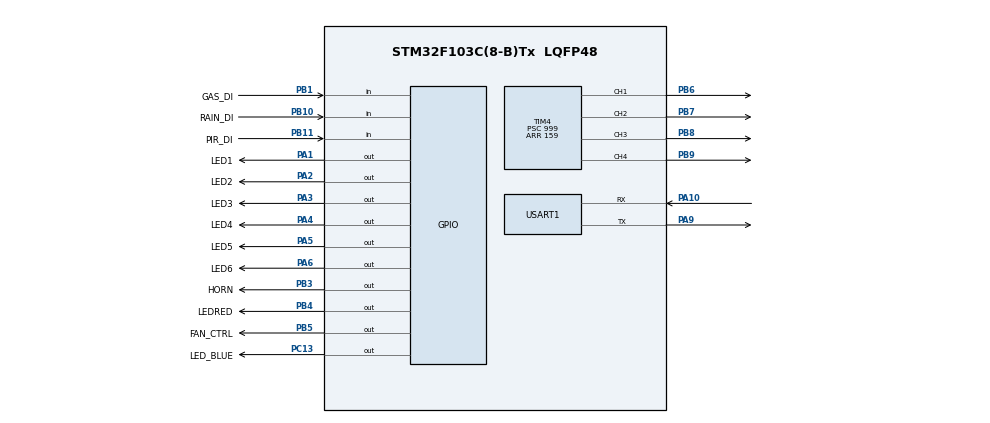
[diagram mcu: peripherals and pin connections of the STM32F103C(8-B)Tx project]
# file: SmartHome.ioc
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Mcu.Family=STM32F1
Mcu.Name=STM32F103C(8-B)Tx
Mcu.Package=LQFP48
NVIC.PriorityGroup=NVIC_PRIORITYGROUP_4
NVIC.USART1_IRQn=true\:5\:0\:true\:false\:true\:true\:true\:true
PA1.GPIO_Label=LED1
PA1.PinState=GPIO_PIN_SET
PA1.Signal=GPIO_Output
PA10.Mode=Asynchronous
PA10.Signal=USART1_RX
PA2.GPIO_Label=LED2
PA2.PinState=GPIO_PIN_SET
PA2.Signal=GPIO_Output
PA3.GPIO_Label=LED3
PA3.PinState=GPIO_PIN_SET
PA3.Signal=GPIO_Output
PA4.GPIO_Label=LED4
PA4.PinState=GPIO_PIN_SET
PA4.Signal=GPIO_Output
PA5.GPIO_Label=LED5
PA5.PinState=GPIO_PIN_SET
PA5.Signal=GPIO_Output
PA6.GPIO_Label=LED6
PA6.PinState=GPIO_PIN_SET
PA6.Signal=GPIO_Output
PA9.Mode=Asynchronous
PA9.Signal=USART1_TX
PB1.GPIO_Label=GAS_DI
PB1.Signal=GPIO_Input
PB10.GPIO_Label=RAIN_DI
PB10.Signal=GPIO_Input
PB11.GPIO_Label=PIR_DI
PB11.Signal=GPIO_Input
PB3.GPIO_Label=HORN
PB3.PinState=GPIO_PIN_SET
PB3.Signal=GPIO_Output
PB4.GPIO_Label=LEDRED
PB4.PinState=GPIO_PIN_SET
PB4.Signal=GPIO_Output
PB5.GPIO_Label=FAN_CTRL
PB5.PinState=GPIO_PIN_SET
PB5.Signal=GPIO_Output
PB6.Signal=S_TIM4_CH1
PB7.Signal=S_TIM4_CH2
PB8.Signal=S_TIM4_CH3
PB9.Signal=S_TIM4_CH4
PC13-TAMPER-RTC.GPIO_Label=LED_BLUE
PC13-TAMPER-RTC.PinState=GPIO_PIN_SET
PC13-TAMPER-RTC.Signal=GPIO_Output
ProjectManager.HeapSize=0x200
ProjectManager.StackSize=0x400
ProjectManager.TargetToolchain=STM32CubeIDE
RCC.APB1Freq_Value=8000000
RCC.APB2Freq_Value=8000000
SH.S_TIM4_CH1.0=TIM4_CH1,PWM Generation1 CH1
SH.S_TIM4_CH2.0=TIM4_CH2,PWM Generation2 CH2
SH.S_TIM4_CH3.0=TIM4_CH3,PWM Generation3 CH3
SH.S_TIM4_CH4.0=TIM4_CH4,PWM Generation4 CH4
TIM4.Channel-PWM\ Generation1\ CH1=TIM_CHANNEL_1
TIM4.Channel-PWM\ Generation2\ CH2=TIM_CHANNEL_2
TIM4.Channel-PWM\ Generation3\ CH3=TIM_CHANNEL_3
TIM4.Channel-PWM\ Generation4\ CH4=TIM_CHANNEL_4
TIM4.Period=159
TIM4.Prescaler=999
TIM4.Pulse-PWM\ Generation1\ CH1=0
USART1.VirtualMode=VM_ASYNC
VP_SYS_VS_ND.Mode=No_Debug
VP_TIM4_VS_ClockSourceINT.Mode=Internal
board=custom

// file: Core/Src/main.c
/* USER CODE BEGIN Header */
/**
  ******************************************************************************
  * @file           : main.c
  * @brief          : Main program body
  ******************************************************************************
  * @attention
  *
  * Copyright (c) 2023 STMicroelectronics.
  * All rights reserved.
  *
  * This software is licensed under terms that can be found in the LICENSE file
  * in the root directory of this software component.
  * If no LICENSE file comes with this software, it is provided AS-IS.
  *
  ******************************************************************************
  */
/* USER CODE END Header */
#include "main.h"

/* USER CODE BEGIN Includes */
#include "cJSON.h"
/* USER CODE END Includes */

/* USER CODE BEGIN PD */
typedef enum MSG_TYPE_t MSG_TYPE;
enum MSG_TYPE_t{
	MSG_LED_1 = 1,
	MSG_LED_2,
	MSG_LED_3,
	MSG_LED_4,
	MSG_LED_5,
	MSG_LED_6,
	MSG_MOTOR_1,
	MSG_MOTOR_2,
	MSG_MOTOR_3,
	MSG_MOTOR_4,
	MSG_MOTOR_5
};

typedef struct SENSOR_t SENSOR;
struct SENSOR_t{
	uint8_t state;
};
typedef struct SMH_APP_t SMH_APP;
struct SMH_APP_t{
	SENSOR gas_sensor;
	SENSOR rain_sensor;
	uint8_t led1_state;
	uint8_t led2_state;
	uint8_t led3_state;
	uint8_t led4_state;
	uint8_t led5_state;
	uint8_t led6_state;
	uint8_t motor1_state;
	uint8_t motor2_state;
	uint8_t motor3_state;
	uint8_t motor4_state;
	uint8_t motor5_state;
	uint8_t horn_state;
	uint8_t ledred_state;
};
/* USER CODE END PD */

TIM_HandleTypeDef htim4;

UART_HandleTypeDef huart1;

/* USER CODE BEGIN PV */
SMH_APP main_app;
uint8_t uart_rx_buff[30];
uint8_t _rxIndex = 0;
uint8_t rx_data;
uint8_t tx_complete_flag = 0;
/* USER CODE END PV */

void SystemClock_Config(void);
static void MX_GPIO_Init(void);
static void MX_USART1_UART_Init(void);
static void MX_TIM4_Init(void);
/* USER CODE BEGIN PFP */
void process_rx_data();
void process_led_control();
void process_motor_control();
void process_measure();
void process_control();
void set_motor_radian(uint8_t motor_number, uint8_t radian);
/* USER CODE END PFP */

/* USER CODE BEGIN 0 */
void HAL_UART_RxCpltCallback(UART_HandleTypeDef *huart)
{
  /* Prevent unused argument(s) compilation warning */
  if(huart->Instance == USART1){
	  uart_rx_buff[_rxIndex++] = rx_data;
	  if(rx_data == '}'){
		  _rxIndex = 0;
		  tx_complete_flag = 1;
	  }
	  HAL_UART_Receive_IT(&huart1, &rx_data, 1);
  }
  /* NOTE: This function should not be modified, when the callback is needed,
           the HAL_UART_RxCpltCallback could be implemented in the user file
   */
}

/* USER CODE END 0 */

int main(void)
{

  /* MCU Configuration--------------------------------------------------------*/

  /* Reset of all peripherals, Initializes the Flash interface and the Systick. */
  HAL_Init();

  /* Configure the system clock */
  SystemClock_Config();

  /* Initialize all configured peripherals */
  MX_GPIO_Init();
  MX_USART1_UART_Init();
  MX_TIM4_Init();
  /* USER CODE BEGIN 2 */
  main_app.horn_state = 0;
  main_app.ledred_state = 0;
  HAL_UART_Receive_IT(&huart1, &rx_data, 1);
  HAL_TIM_PWM_Start(&htim4, TIM_CHANNEL_1);
  HAL_TIM_PWM_Start(&htim4, TIM_CHANNEL_2);
  HAL_TIM_PWM_Start(&htim4, TIM_CHANNEL_3);
  HAL_TIM_PWM_Start(&htim4, TIM_CHANNEL_4);
  /* USER CODE END 2 */

  /* Infinite loop */
  /* USER CODE BEGIN WHILE */
  while (1) {
	  if(tx_complete_flag == 1){
		  process_rx_data();
		  tx_complete_flag = 0;
	  }
	  process_measure();
	  process_control();
	  HAL_Delay(100);
    /* USER CODE END WHILE */

  }
}

void SystemClock_Config(void)
{
  RCC_OscInitTypeDef RCC_OscInitStruct = {0};
  RCC_ClkInitTypeDef RCC_ClkInitStruct = {0};

  /** Initializes the RCC Oscillators according to the specified parameters
  * in the RCC_OscInitTypeDef structure.
  */
  RCC_OscInitStruct.OscillatorType = RCC_OSCILLATORTYPE_HSI;
  RCC_OscInitStruct.HSIState = RCC_HSI_ON;
  RCC_OscInitStruct.HSICalibrationValue = RCC_HSICALIBRATION_DEFAULT;
  RCC_OscInitStruct.PLL.PLLState = RCC_PLL_NONE;
  if (HAL_RCC_OscConfig(&RCC_OscInitStruct) != HAL_OK)
  {
    Error_Handler();
  }

  /** Initializes the CPU, AHB and APB buses clocks
  */
  RCC_ClkInitStruct.ClockType = RCC_CLOCKTYPE_HCLK|RCC_CLOCKTYPE_SYSCLK
                              |RCC_CLOCKTYPE_PCLK1|RCC_CLOCKTYPE_PCLK2;
  RCC_ClkInitStruct.SYSCLKSource = RCC_SYSCLKSOURCE_HSI;
  RCC_ClkInitStruct.AHBCLKDivider = RCC_SYSCLK_DIV1;
  RCC_ClkInitStruct.APB1CLKDivider = RCC_HCLK_DIV1;
  RCC_ClkInitStruct.APB2CLKDivider = RCC_HCLK_DIV1;

  if (HAL_RCC_ClockConfig(&RCC_ClkInitStruct, FLASH_LATENCY_0) != HAL_OK)
  {
    Error_Handler();
  }
}

static void MX_TIM4_Init(void)
{

  TIM_ClockConfigTypeDef sClockSourceConfig = {0};
  TIM_MasterConfigTypeDef sMasterConfig = {0};
  TIM_OC_InitTypeDef sConfigOC = {0};

  htim4.Instance = TIM4;
  htim4.Init.Prescaler = 999;
  htim4.Init.CounterMode = TIM_COUNTERMODE_UP;
  htim4.Init.Period = 159;
  htim4.Init.ClockDivision = TIM_CLOCKDIVISION_DIV1;
  htim4.Init.AutoReloadPreload = TIM_AUTORELOAD_PRELOAD_DISABLE;
  if (HAL_TIM_Base_Init(&htim4) != HAL_OK)
  {
    Error_Handler();
  }
  sClockSourceConfig.ClockSource = TIM_CLOCKSOURCE_INTERNAL;
  if (HAL_TIM_ConfigClockSource(&htim4, &sClockSourceConfig) != HAL_OK)
  {
    Error_Handler();
  }
  if (HAL_TIM_PWM_Init(&htim4) != HAL_OK)
  {
    Error_Handler();
  }
  sMasterConfig.MasterOutputTrigger = TIM_TRGO_RESET;
  sMasterConfig.MasterSlaveMode = TIM_MASTERSLAVEMODE_DISABLE;
  if (HAL_TIMEx_MasterConfigSynchronization(&htim4, &sMasterConfig) != HAL_OK)
  {
    Error_Handler();
  }
  sConfigOC.OCMode = TIM_OCMODE_PWM1;
  sConfigOC.Pulse = 0;
  sConfigOC.OCPolarity = TIM_OCPOLARITY_HIGH;
  sConfigOC.OCFastMode = TIM_OCFAST_DISABLE;
  if (HAL_TIM_PWM_ConfigChannel(&htim4, &sConfigOC, TIM_CHANNEL_1) != HAL_OK)
  {
    Error_Handler();
  }
  if (HAL_TIM_PWM_ConfigChannel(&htim4, &sConfigOC, TIM_CHANNEL_2) != HAL_OK)
  {
    Error_Handler();
  }
  if (HAL_TIM_PWM_ConfigChannel(&htim4, &sConfigOC, TIM_CHANNEL_3) != HAL_OK)
  {
    Error_Handler();
  }
  if (HAL_TIM_PWM_ConfigChannel(&htim4, &sConfigOC, TIM_CHANNEL_4) != HAL_OK)
  {
    Error_Handler();
  }
  HAL_TIM_MspPostInit(&htim4);

}

static void MX_USART1_UART_Init(void)
{

  huart1.Instance = USART1;
  huart1.Init.BaudRate = 115200;
  huart1.Init.WordLength = UART_WORDLENGTH_8B;
  huart1.Init.StopBits = UART_STOPBITS_1;
  huart1.Init.Parity = UART_PARITY_NONE;
  huart1.Init.Mode = UART_MODE_TX_RX;
  huart1.Init.HwFlowCtl = UART_HWCONTROL_NONE;
  huart1.Init.OverSampling = UART_OVERSAMPLING_16;
  if (HAL_UART_Init(&huart1) != HAL_OK)
  {
    Error_Handler();
  }

}

static void MX_GPIO_Init(void)
{
  GPIO_InitTypeDef GPIO_InitStruct = {0};

  /* GPIO Ports Clock Enable */
  __HAL_RCC_GPIOC_CLK_ENABLE();
  __HAL_RCC_GPIOA_CLK_ENABLE();
  __HAL_RCC_GPIOB_CLK_ENABLE();

  /*Configure GPIO pin Output Level */
  HAL_GPIO_WritePin(LED_BLUE_GPIO_Port, LED_BLUE_Pin, GPIO_PIN_SET);

  /*Configure GPIO pin Output Level */
  HAL_GPIO_WritePin(GPIOA, LED1_Pin|LED2_Pin|LED3_Pin|LED4_Pin
                          |LED5_Pin|LED6_Pin, GPIO_PIN_SET);

  /*Configure GPIO pin Output Level */
  HAL_GPIO_WritePin(GPIOB, HORN_Pin|LEDRED_Pin|FAN_CTRL_Pin, GPIO_PIN_SET);

  /*Configure GPIO pin : LED_BLUE_Pin */
  GPIO_InitStruct.Pin = LED_BLUE_Pin;
  GPIO_InitStruct.Mode = GPIO_MODE_OUTPUT_PP;
  GPIO_InitStruct.Pull = GPIO_NOPULL;
  GPIO_InitStruct.Speed = GPIO_SPEED_FREQ_LOW;
  HAL_GPIO_Init(LED_BLUE_GPIO_Port, &GPIO_InitStruct);

  /*Configure GPIO pins : LED1_Pin LED2_Pin LED3_Pin LED4_Pin
                           LED5_Pin LED6_Pin */
  GPIO_InitStruct.Pin = LED1_Pin|LED2_Pin|LED3_Pin|LED4_Pin
                          |LED5_Pin|LED6_Pin;
  GPIO_InitStruct.Mode = GPIO_MODE_OUTPUT_PP;
  GPIO_InitStruct.Pull = GPIO_NOPULL;
  GPIO_InitStruct.Speed = GPIO_SPEED_FREQ_LOW;
  HAL_GPIO_Init(GPIOA, &GPIO_InitStruct);

  /*Configure GPIO pins : GAS_DI_Pin RAIN_DI_Pin PIR_DI_Pin */
  GPIO_InitStruct.Pin = GAS_DI_Pin|RAIN_DI_Pin|PIR_DI_Pin;
  GPIO_InitStruct.Mode = GPIO_MODE_INPUT;
  GPIO_InitStruct.Pull = GPIO_NOPULL;
  HAL_GPIO_Init(GPIOB, &GPIO_InitStruct);

  /*Configure GPIO pins : HORN_Pin LEDRED_Pin FAN_CTRL_Pin */
  GPIO_InitStruct.Pin = HORN_Pin|LEDRED_Pin|FAN_CTRL_Pin;
  GPIO_InitStruct.Mode = GPIO_MODE_OUTPUT_PP;
  GPIO_InitStruct.Pull = GPIO_NOPULL;
  GPIO_InitStruct.Speed = GPIO_SPEED_FREQ_LOW;
  HAL_GPIO_Init(GPIOB, &GPIO_InitStruct);

}

/* USER CODE BEGIN 4 */
void process_rx_data(){
	MSG_TYPE msg_type;
	cJSON* root = cJSON_Parse((char*)uart_rx_buff);
	cJSON* msg_id = cJSON_GetObjectItem(root, "msg_id");
	cJSON* state;
	msg_type = (MSG_TYPE)cJSON_GetNumberValue(msg_id);
	switch(msg_type){
		case MSG_LED_1:
			state = cJSON_GetObjectItem(root, "LED1");
			main_app.led1_state = cJSON_GetNumberValue(state);
			break;
		case MSG_LED_2:
			state = cJSON_GetObjectItem(root, "LED2");
			main_app.led2_state = cJSON_GetNumberValue(state);
			break;
		case MSG_LED_3:
			state = cJSON_GetObjectItem(root, "LED3");
			main_app.led3_state = cJSON_GetNumberValue(state);
			break;
		case MSG_LED_4:
			state = cJSON_GetObjectItem(root, "LED4");
			main_app.led4_state = cJSON_GetNumberValue(state);
			break;
		case MSG_LED_5:
			state = cJSON_GetObjectItem(root, "LED5");
			main_app.led5_state = cJSON_GetNumberValue(state);
			break;
		case MSG_LED_6:
			state = cJSON_GetObjectItem(root, "LED6");
			main_app.led6_state = cJSON_GetNumberValue(state);
			break;
		case MSG_MOTOR_1:
			state = cJSON_GetObjectItem(root, "MOTOR1");
			main_app.motor1_state = cJSON_GetNumberValue(state);
			break;
		case MSG_MOTOR_2:
			state = cJSON_GetObjectItem(root, "MOTOR2");
			main_app.motor2_state = cJSON_GetNumberValue(state);
			break;
		case MSG_MOTOR_3:
			state = cJSON_GetObjectItem(root, "MOTOR3");
			main_app.motor3_state = cJSON_GetNumberValue(state);
			break;
		case MSG_MOTOR_4:
			state = cJSON_GetObjectItem(root, "MOTOR4");
			main_app.motor4_state = cJSON_GetNumberValue(state);
			break;
		case MSG_MOTOR_5:
			state = cJSON_GetObjectItem(root, "MOTOR5");
			main_app.motor5_state = cJSON_GetNumberValue(state);
			break;
	}
	cJSON_Delete(root);

}

void process_control(){

	HAL_GPIO_WritePin(HORN_GPIO_Port, HORN_Pin, main_app.motor5_state);
	HAL_GPIO_WritePin(FAN_CTRL_GPIO_Port, FAN_CTRL_Pin, main_app.gas_sensor.state);
	process_led_control();
	process_motor_control();
}

void process_led_control(){
	HAL_GPIO_WritePin(LED1_GPIO_Port, LED1_Pin, main_app.led1_state);
	HAL_GPIO_WritePin(LED2_GPIO_Port, LED2_Pin, main_app.led2_state);
	HAL_GPIO_WritePin(LED3_GPIO_Port, LED3_Pin, main_app.led3_state);
	HAL_GPIO_WritePin(LED4_GPIO_Port, LED4_Pin, main_app.led4_state);
	HAL_GPIO_WritePin(LED5_GPIO_Port, LED5_Pin, main_app.led5_state);
	HAL_GPIO_WritePin(LED6_GPIO_Port, LED6_Pin, main_app.led6_state);
}

void process_motor_control(){
	if(main_app.motor1_state == 1){
		set_motor_radian(1, 180);
	}
	else{
		set_motor_radian(1, 0);
	}

	if(main_app.motor2_state == 1){
		set_motor_radian(2, 180);
	}
	else{
		set_motor_radian(2, 0);
	}

	if(main_app.motor3_state == 1){
		set_motor_radian(3, 0);
	}
	else{
		set_motor_radian(3, 180);
	}

}
void process_measure(){
	main_app.gas_sensor.state = !(uint8_t)HAL_GPIO_ReadPin(GAS_DI_GPIO_Port, GAS_DI_Pin);
	main_app.rain_sensor.state = !(uint8_t)HAL_GPIO_ReadPin(RAIN_DI_GPIO_Port, RAIN_DI_Pin);
}

void set_motor_radian(uint8_t motor_number, uint8_t radian){
	switch(motor_number){
		case 1:
			if(radian == 0){
				__HAL_TIM_SET_COMPARE(&htim4, TIM_CHANNEL_1, 5);
			}
			else if(radian == 180){
				__HAL_TIM_SET_COMPARE(&htim4, TIM_CHANNEL_1, 20);
			}
			break;
		case 2:
			if(radian == 0){
				__HAL_TIM_SET_COMPARE(&htim4, TIM_CHANNEL_2, 5);
			}
			else if(radian == 180){
				__HAL_TIM_SET_COMPARE(&htim4, TIM_CHANNEL_2, 20);
			}
			break;
		case 3:
			if(radian == 0){
				__HAL_TIM_SET_COMPARE(&htim4, TIM_CHANNEL_3, 5);
			}
			else if(radian == 180){
				__HAL_TIM_SET_COMPARE(&htim4, TIM_CHANNEL_3, 20);
			}
			break;
		default:
			break;
	}
}
/* USER CODE END 4 */

void Error_Handler(void)
{
  __disable_irq();
  while (1)
  {
  }
}
